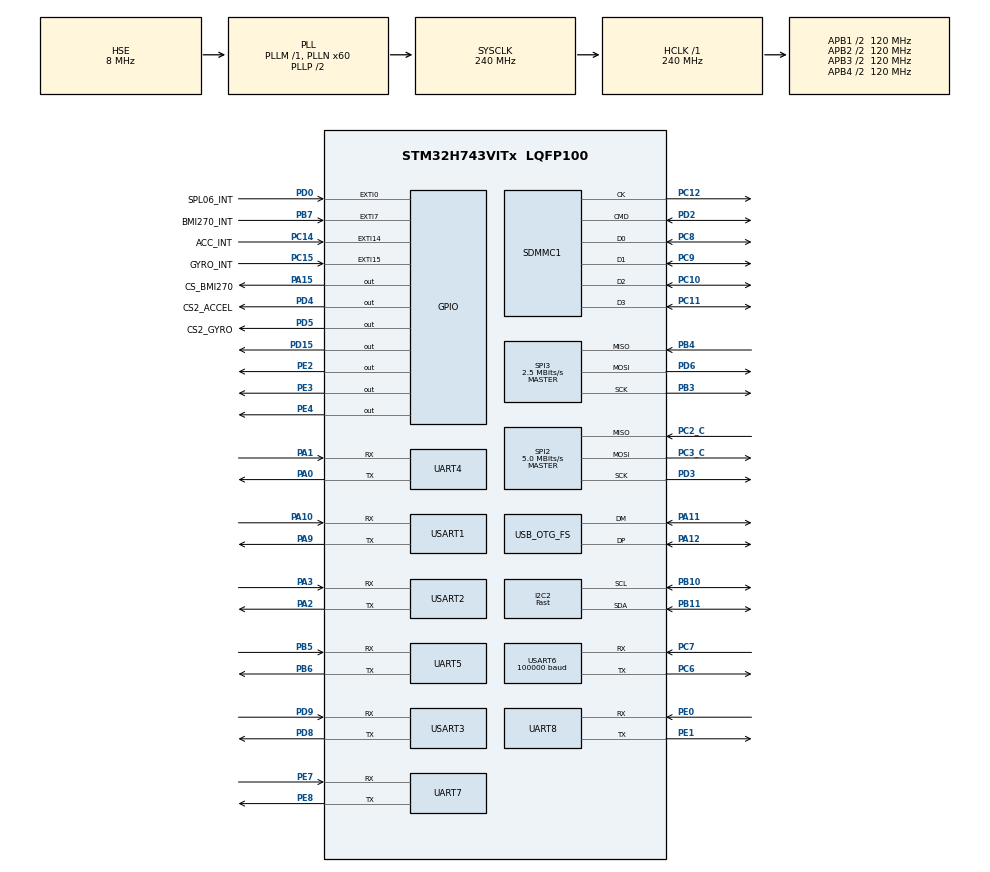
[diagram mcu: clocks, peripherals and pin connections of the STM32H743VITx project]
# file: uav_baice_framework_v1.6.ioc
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CORTEX_M7.CPU_DCache=Enabled
CORTEX_M7.CPU_ICache=Enabled
CORTEX_M7.default_mode_Activation=0
Dma.I2C2_RX.6.Direction=DMA_PERIPH_TO_MEMORY
Dma.I2C2_RX.6.EventEnable=DISABLE
Dma.I2C2_RX.6.FIFOMode=DMA_FIFOMODE_DISABLE
Dma.I2C2_RX.6.Instance=DMA1_Stream4
Dma.I2C2_RX.6.MemDataAlignment=DMA_MDATAALIGN_BYTE
Dma.I2C2_RX.6.MemInc=DMA_MINC_ENABLE
Dma.I2C2_RX.6.Mode=DMA_NORMAL
Dma.I2C2_RX.6.PeriphDataAlignment=DMA_PDATAALIGN_BYTE
Dma.I2C2_RX.6.PeriphInc=DMA_PINC_DISABLE
Dma.I2C2_RX.6.Polarity=HAL_DMAMUX_REQ_GEN_RISING
Dma.I2C2_RX.6.Priority=DMA_PRIORITY_HIGH
Dma.I2C2_RX.6.RequestNumber=1
Dma.I2C2_RX.6.SignalID=NONE
Dma.I2C2_RX.6.SyncEnable=DISABLE
Dma.I2C2_RX.6.SyncPolarity=HAL_DMAMUX_SYNC_NO_EVENT
Dma.I2C2_RX.6.SyncRequestNumber=1
Dma.I2C2_RX.6.SyncSignalID=NONE
Dma.I2C2_TX.7.Direction=DMA_MEMORY_TO_PERIPH
Dma.I2C2_TX.7.EventEnable=DISABLE
Dma.I2C2_TX.7.FIFOMode=DMA_FIFOMODE_DISABLE
Dma.I2C2_TX.7.Instance=DMA1_Stream5
Dma.I2C2_TX.7.MemDataAlignment=DMA_MDATAALIGN_BYTE
Dma.I2C2_TX.7.MemInc=DMA_MINC_ENABLE
Dma.I2C2_TX.7.Mode=DMA_NORMAL
Dma.I2C2_TX.7.PeriphDataAlignment=DMA_PDATAALIGN_BYTE
Dma.I2C2_TX.7.PeriphInc=DMA_PINC_DISABLE
Dma.I2C2_TX.7.Polarity=HAL_DMAMUX_REQ_GEN_RISING
Dma.I2C2_TX.7.Priority=DMA_PRIORITY_LOW
Dma.I2C2_TX.7.RequestNumber=1
Dma.I2C2_TX.7.SignalID=NONE
Dma.I2C2_TX.7.SyncEnable=DISABLE
Dma.I2C2_TX.7.SyncPolarity=HAL_DMAMUX_SYNC_NO_EVENT
Dma.I2C2_TX.7.SyncRequestNumber=1
Dma.I2C2_TX.7.SyncSignalID=NONE
Dma.Request0=UART8_RX
Dma.Request1=UART8_TX
Dma.Request10=USART1_RX
Dma.Request11=USART1_TX
Dma.Request2=SPI2_RX
Dma.Request3=SPI2_TX
Dma.Request4=SPI3_RX
Dma.Request5=SPI3_TX
Dma.Request6=I2C2_RX
Dma.Request7=I2C2_TX
Dma.Request8=USART6_RX
Dma.Request9=USART6_TX
Dma.SPI2_RX.2.Direction=DMA_PERIPH_TO_MEMORY
Dma.SPI2_RX.2.EventEnable=DISABLE
Dma.SPI2_RX.2.FIFOMode=DMA_FIFOMODE_DISABLE
Dma.SPI2_RX.2.Instance=DMA1_Stream0
Dma.SPI2_RX.2.MemDataAlignment=DMA_MDATAALIGN_BYTE
Dma.SPI2_RX.2.MemInc=DMA_MINC_ENABLE
Dma.SPI2_RX.2.Mode=DMA_NORMAL
Dma.SPI2_RX.2.PeriphDataAlignment=DMA_PDATAALIGN_BYTE
Dma.SPI2_RX.2.PeriphInc=DMA_PINC_DISABLE
Dma.SPI2_RX.2.Polarity=HAL_DMAMUX_REQ_GEN_RISING
Dma.SPI2_RX.2.Priority=DMA_PRIORITY_VERY_HIGH
Dma.SPI2_RX.2.RequestNumber=1
Dma.SPI2_RX.2.SignalID=NONE
Dma.SPI2_RX.2.SyncEnable=DISABLE
Dma.SPI2_RX.2.SyncPolarity=HAL_DMAMUX_SYNC_NO_EVENT
Dma.SPI2_RX.2.SyncRequestNumber=1
Dma.SPI2_RX.2.SyncSignalID=NONE
Dma.SPI2_TX.3.Direction=DMA_MEMORY_TO_PERIPH
Dma.SPI2_TX.3.EventEnable=DISABLE
Dma.SPI2_TX.3.FIFOMode=DMA_FIFOMODE_DISABLE
Dma.SPI2_TX.3.Instance=DMA1_Stream1
Dma.SPI2_TX.3.MemDataAlignment=DMA_MDATAALIGN_BYTE
Dma.SPI2_TX.3.MemInc=DMA_MINC_ENABLE
Dma.SPI2_TX.3.Mode=DMA_NORMAL
Dma.SPI2_TX.3.PeriphDataAlignment=DMA_PDATAALIGN_BYTE
Dma.SPI2_TX.3.PeriphInc=DMA_PINC_DISABLE
Dma.SPI2_TX.3.Polarity=HAL_DMAMUX_REQ_GEN_RISING
Dma.SPI2_TX.3.Priority=DMA_PRIORITY_VERY_HIGH
Dma.SPI2_TX.3.RequestNumber=1
Dma.SPI2_TX.3.SignalID=NONE
Dma.SPI2_TX.3.SyncEnable=DISABLE
Dma.SPI2_TX.3.SyncPolarity=HAL_DMAMUX_SYNC_NO_EVENT
Dma.SPI2_TX.3.SyncRequestNumber=1
Dma.SPI2_TX.3.SyncSignalID=NONE
Dma.SPI3_RX.4.Direction=DMA_PERIPH_TO_MEMORY
Dma.SPI3_RX.4.EventEnable=DISABLE
Dma.SPI3_RX.4.FIFOMode=DMA_FIFOMODE_DISABLE
Dma.SPI3_RX.4.Instance=DMA1_Stream2
Dma.SPI3_RX.4.MemDataAlignment=DMA_MDATAALIGN_BYTE
Dma.SPI3_RX.4.MemInc=DMA_MINC_ENABLE
Dma.SPI3_RX.4.Mode=DMA_NORMAL
Dma.SPI3_RX.4.PeriphDataAlignment=DMA_PDATAALIGN_BYTE
Dma.SPI3_RX.4.PeriphInc=DMA_PINC_DISABLE
Dma.SPI3_RX.4.Polarity=HAL_DMAMUX_REQ_GEN_RISING
Dma.SPI3_RX.4.Priority=DMA_PRIORITY_VERY_HIGH
Dma.SPI3_RX.4.RequestNumber=1
Dma.SPI3_RX.4.SignalID=NONE
Dma.SPI3_RX.4.SyncEnable=DISABLE
Dma.SPI3_RX.4.SyncPolarity=HAL_DMAMUX_SYNC_NO_EVENT
Dma.SPI3_RX.4.SyncRequestNumber=1
Dma.SPI3_RX.4.SyncSignalID=NONE
Dma.SPI3_TX.5.Direction=DMA_MEMORY_TO_PERIPH
Dma.SPI3_TX.5.EventEnable=DISABLE
Dma.SPI3_TX.5.FIFOMode=DMA_FIFOMODE_DISABLE
Dma.SPI3_TX.5.Instance=DMA1_Stream3
Dma.SPI3_TX.5.MemDataAlignment=DMA_MDATAALIGN_BYTE
Dma.SPI3_TX.5.MemInc=DMA_MINC_ENABLE
Dma.SPI3_TX.5.Mode=DMA_NORMAL
Dma.SPI3_TX.5.PeriphDataAlignment=DMA_PDATAALIGN_BYTE
Dma.SPI3_TX.5.PeriphInc=DMA_PINC_DISABLE
Dma.SPI3_TX.5.Polarity=HAL_DMAMUX_REQ_GEN_RISING
Dma.SPI3_TX.5.Priority=DMA_PRIORITY_VERY_HIGH
Dma.SPI3_TX.5.RequestNumber=1
Dma.SPI3_TX.5.SignalID=NONE
Dma.SPI3_TX.5.SyncEnable=DISABLE
Dma.SPI3_TX.5.SyncPolarity=HAL_DMAMUX_SYNC_NO_EVENT
Dma.SPI3_TX.5.SyncRequestNumber=1
Dma.SPI3_TX.5.SyncSignalID=NONE
Dma.UART8_RX.0.Direction=DMA_PERIPH_TO_MEMORY
Dma.UART8_RX.0.EventEnable=DISABLE
Dma.UART8_RX.0.FIFOMode=DMA_FIFOMODE_DISABLE
Dma.UART8_RX.0.Instance=DMA2_Stream0
Dma.UART8_RX.0.MemDataAlignment=DMA_MDATAALIGN_BYTE
Dma.UART8_RX.0.MemInc=DMA_MINC_ENABLE
Dma.UART8_RX.0.Mode=DMA_NORMAL
Dma.UART8_RX.0.PeriphDataAlignment=DMA_PDATAALIGN_BYTE
Dma.UART8_RX.0.PeriphInc=DMA_PINC_DISABLE
Dma.UART8_RX.0.Polarity=HAL_DMAMUX_REQ_GEN_RISING
Dma.UART8_RX.0.Priority=DMA_PRIORITY_LOW
Dma.UART8_RX.0.RequestNumber=1
Dma.UART8_RX.0.SignalID=NONE
Dma.UART8_RX.0.SyncEnable=DISABLE
Dma.UART8_RX.0.SyncPolarity=HAL_DMAMUX_SYNC_NO_EVENT
Dma.UART8_RX.0.SyncRequestNumber=1
Dma.UART8_RX.0.SyncSignalID=NONE
Dma.UART8_TX.1.Direction=DMA_MEMORY_TO_PERIPH
Dma.UART8_TX.1.EventEnable=DISABLE
Dma.UART8_TX.1.FIFOMode=DMA_FIFOMODE_DISABLE
Dma.UART8_TX.1.Instance=DMA2_Stream1
Dma.UART8_TX.1.MemDataAlignment=DMA_MDATAALIGN_BYTE
Dma.UART8_TX.1.MemInc=DMA_MINC_ENABLE
Dma.UART8_TX.1.Mode=DMA_NORMAL
Dma.UART8_TX.1.PeriphDataAlignment=DMA_PDATAALIGN_BYTE
Dma.UART8_TX.1.PeriphInc=DMA_PINC_DISABLE
Dma.UART8_TX.1.Polarity=HAL_DMAMUX_REQ_GEN_RISING
Dma.UART8_TX.1.Priority=DMA_PRIORITY_LOW
Dma.UART8_TX.1.RequestNumber=1
Dma.UART8_TX.1.SignalID=NONE
Dma.UART8_TX.1.SyncEnable=DISABLE
Dma.UART8_TX.1.SyncPolarity=HAL_DMAMUX_SYNC_NO_EVENT
Dma.UART8_TX.1.SyncRequestNumber=1
Dma.UART8_TX.1.SyncSignalID=NONE
Dma.USART1_RX.10.Direction=DMA_PERIPH_TO_MEMORY
Dma.USART1_RX.10.EventEnable=DISABLE
Dma.USART1_RX.10.FIFOMode=DMA_FIFOMODE_DISABLE
Dma.USART1_RX.10.Instance=DMA1_Stream6
Dma.USART1_RX.10.MemDataAlignment=DMA_MDATAALIGN_BYTE
Dma.USART1_RX.10.MemInc=DMA_MINC_ENABLE
Dma.USART1_RX.10.Mode=DMA_CIRCULAR
Dma.USART1_RX.10.PeriphDataAlignment=DMA_PDATAALIGN_BYTE
Dma.USART1_RX.10.PeriphInc=DMA_PINC_DISABLE
Dma.USART1_RX.10.Polarity=HAL_DMAMUX_REQ_GEN_RISING
Dma.USART1_RX.10.Priority=DMA_PRIORITY_LOW
Dma.USART1_RX.10.RequestNumber=1
Dma.USART1_RX.10.SignalID=NONE
Dma.USART1_RX.10.SyncEnable=DISABLE
Dma.USART1_RX.10.SyncPolarity=HAL_DMAMUX_SYNC_NO_EVENT
Dma.USART1_RX.10.SyncRequestNumber=1
Dma.USART1_RX.10.SyncSignalID=NONE
Dma.USART1_TX.11.Direction=DMA_MEMORY_TO_PERIPH
Dma.USART1_TX.11.EventEnable=DISABLE
Dma.USART1_TX.11.FIFOMode=DMA_FIFOMODE_DISABLE
Dma.USART1_TX.11.Instance=DMA1_Stream7
Dma.USART1_TX.11.MemDataAlignment=DMA_MDATAALIGN_BYTE
Dma.USART1_TX.11.MemInc=DMA_MINC_ENABLE
Dma.USART1_TX.11.Mode=DMA_NORMAL
Dma.USART1_TX.11.PeriphDataAlignment=DMA_PDATAALIGN_BYTE
Dma.USART1_TX.11.PeriphInc=DMA_PINC_DISABLE
Dma.USART1_TX.11.Polarity=HAL_DMAMUX_REQ_GEN_RISING
Dma.USART1_TX.11.Priority=DMA_PRIORITY_LOW
Dma.USART1_TX.11.RequestNumber=1
Dma.USART1_TX.11.SignalID=NONE
Dma.USART1_TX.11.SyncEnable=DISABLE
Dma.USART1_TX.11.SyncPolarity=HAL_DMAMUX_SYNC_NO_EVENT
Dma.USART1_TX.11.SyncRequestNumber=1
Dma.USART1_TX.11.SyncSignalID=NONE
Dma.USART6_RX.8.Direction=DMA_PERIPH_TO_MEMORY
Dma.USART6_RX.8.EventEnable=DISABLE
Dma.USART6_RX.8.FIFOMode=DMA_FIFOMODE_DISABLE
Dma.USART6_RX.8.Instance=DMA2_Stream2
Dma.USART6_RX.8.MemDataAlignment=DMA_MDATAALIGN_BYTE
Dma.USART6_RX.8.MemInc=DMA_MINC_ENABLE
Dma.USART6_RX.8.Mode=DMA_CIRCULAR
Dma.USART6_RX.8.PeriphDataAlignment=DMA_PDATAALIGN_BYTE
Dma.USART6_RX.8.PeriphInc=DMA_PINC_DISABLE
Dma.USART6_RX.8.Polarity=HAL_DMAMUX_REQ_GEN_RISING
Dma.USART6_RX.8.Priority=DMA_PRIORITY_MEDIUM
Dma.USART6_RX.8.RequestNumber=1
Dma.USART6_RX.8.SignalID=NONE
Dma.USART6_RX.8.SyncEnable=DISABLE
Dma.USART6_RX.8.SyncPolarity=HAL_DMAMUX_SYNC_NO_EVENT
Dma.USART6_RX.8.SyncRequestNumber=1
Dma.USART6_RX.8.SyncSignalID=NONE
Dma.USART6_TX.9.Direction=DMA_MEMORY_TO_PERIPH
Dma.USART6_TX.9.EventEnable=DISABLE
Dma.USART6_TX.9.FIFOMode=DMA_FIFOMODE_DISABLE
Dma.USART6_TX.9.Instance=DMA2_Stream3
Dma.USART6_TX.9.MemDataAlignment=DMA_MDATAALIGN_BYTE
Dma.USART6_TX.9.MemInc=DMA_MINC_ENABLE
Dma.USART6_TX.9.Mode=DMA_NORMAL
Dma.USART6_TX.9.PeriphDataAlignment=DMA_PDATAALIGN_BYTE
Dma.USART6_TX.9.PeriphInc=DMA_PINC_DISABLE
Dma.USART6_TX.9.Polarity=HAL_DMAMUX_REQ_GEN_RISING
Dma.USART6_TX.9.Priority=DMA_PRIORITY_MEDIUM
Dma.USART6_TX.9.RequestNumber=1
Dma.USART6_TX.9.SignalID=NONE
Dma.USART6_TX.9.SyncEnable=DISABLE
Dma.USART6_TX.9.SyncPolarity=HAL_DMAMUX_SYNC_NO_EVENT
Dma.USART6_TX.9.SyncRequestNumber=1
Dma.USART6_TX.9.SyncSignalID=NONE
FATFS._USE_LFN=3
FREERTOS.Tasks01=defaultTask,24,128,StartDefaultTask,Default,NULL,Dynamic,NULL,NULL
I2C2.I2C_Speed_Mode=I2C_Fast
I2C2.Timing=0x00B03FDB
Mcu.Family=STM32H7
Mcu.Name=STM32H743VITx
Mcu.Package=LQFP100
NVIC.DMA1_Stream0_IRQn=true\:5\:0\:false\:false\:true\:true\:false\:true\:true
NVIC.DMA1_Stream1_IRQn=true\:5\:0\:false\:false\:true\:true\:false\:true\:true
NVIC.DMA1_Stream2_IRQn=true\:5\:0\:false\:false\:true\:true\:false\:true\:true
NVIC.DMA1_Stream3_IRQn=true\:5\:0\:false\:false\:true\:true\:false\:true\:true
NVIC.DMA1_Stream4_IRQn=true\:5\:0\:false\:false\:true\:true\:false\:true\:true
NVIC.DMA1_Stream5_IRQn=true\:5\:0\:false\:false\:true\:true\:false\:true\:true
NVIC.DMA1_Stream6_IRQn=true\:5\:0\:false\:false\:true\:true\:false\:true\:true
NVIC.DMA1_Stream7_IRQn=true\:5\:0\:false\:false\:true\:true\:false\:true\:true
NVIC.DMA2_Stream0_IRQn=true\:5\:0\:false\:false\:true\:false\:false\:true\:true
NVIC.DMA2_Stream1_IRQn=true\:5\:0\:false\:false\:true\:false\:false\:true\:true
NVIC.DMA2_Stream2_IRQn=true\:5\:0\:false\:false\:true\:true\:false\:true\:true
NVIC.DMA2_Stream3_IRQn=true\:5\:0\:false\:false\:true\:false\:false\:true\:true
NVIC.EXTI0_IRQn=true\:5\:0\:false\:false\:true\:true\:true\:true\:true
NVIC.EXTI15_10_IRQn=true\:5\:0\:false\:false\:true\:true\:true\:true\:true
NVIC.EXTI9_5_IRQn=true\:5\:0\:false\:false\:true\:true\:true\:true\:true
NVIC.I2C2_ER_IRQn=true\:5\:0\:false\:false\:true\:true\:true\:true\:true
NVIC.I2C2_EV_IRQn=true\:5\:0\:false\:false\:true\:true\:true\:true\:true
NVIC.OTG_FS_IRQn=true\:5\:0\:false\:false\:true\:true\:false\:true\:true
NVIC.PriorityGroup=NVIC_PRIORITYGROUP_4
NVIC.SDMMC1_IRQn=true\:5\:0\:false\:false\:true\:true\:true\:true\:true
NVIC.SPI2_IRQn=true\:5\:0\:false\:false\:true\:true\:false\:true\:true
NVIC.SPI3_IRQn=true\:5\:0\:false\:false\:true\:true\:true\:true\:true
NVIC.TIM17_IRQn=true\:0\:0\:true\:false\:true\:false\:false\:true\:true
NVIC.TimeBase=TIM17_IRQn
NVIC.TimeBaseIP=TIM17
NVIC.UART8_IRQn=true\:5\:0\:false\:false\:true\:true\:true\:true\:true
NVIC.USART1_IRQn=true\:5\:0\:false\:false\:true\:true\:true\:true\:true
NVIC.USART6_IRQn=true\:5\:0\:false\:false\:true\:true\:true\:true\:true
PA0.Mode=Asynchronous
PA0.PinAttribute=Free
PA0.Signal=UART4_TX
PA1.Mode=Asynchronous
PA1.PinAttribute=Free
PA1.Signal=UART4_RX
PA10.Mode=Asynchronous
PA10.Signal=USART1_RX
PA11.Mode=Device_Only
PA11.Signal=USB_OTG_FS_DM
PA12.Mode=Device_Only
PA12.Signal=USB_OTG_FS_DP
PA13\ (JTMS/SWDIO).Mode=Serial_Wire
PA13\ (JTMS/SWDIO).Signal=DEBUG_JTMS-SWDIO
PA14\ (JTCK/SWCLK).Mode=Serial_Wire
PA14\ (JTCK/SWCLK).Signal=DEBUG_JTCK-SWCLK
PA15\ (JTDI).GPIO_Label=CS_BMI270
PA15\ (JTDI).GPIO_Speed=GPIO_SPEED_FREQ_VERY_HIGH
PA15\ (JTDI).PinState=GPIO_PIN_SET
PA15\ (JTDI).Signal=GPIO_Output
PA2.Mode=Asynchronous
PA2.PinAttribute=Free
PA2.Signal=USART2_TX
PA3.Mode=Asynchronous
PA3.Signal=USART2_RX
PA9.Mode=Asynchronous
PA9.Signal=USART1_TX
PB0.Signal=S_TIM3_CH3
PB1.Signal=S_TIM3_CH4
PB10.GPIO_Pu=GPIO_PULLUP
PB10.GPIO_Speed=GPIO_SPEED_FREQ_HIGH
PB10.Mode=I2C
PB10.Signal=I2C2_SCL
PB11.GPIO_Pu=GPIO_PULLUP
PB11.GPIO_Speed=GPIO_SPEED_FREQ_HIGH
PB11.Mode=I2C
PB11.Signal=I2C2_SDA
PB3\ (JTDO/TRACESWO).Mode=Full_Duplex_Master
PB3\ (JTDO/TRACESWO).Signal=SPI3_SCK
PB4\ (NJTRST).Mode=Full_Duplex_Master
PB4\ (NJTRST).Signal=SPI3_MISO
PB5.Mode=Asynchronous
PB5.Signal=UART5_RX
PB6.Mode=Asynchronous
PB6.Signal=UART5_TX
PB7.GPIO_Label=BMI270_INT
PB7.GPIO_ModeDefaultEXTI=GPIO_MODE_IT_RISING
PB7.Signal=GPXTI7
PB8.Signal=I2C1_SCL
PB9.Signal=I2C1_SDA
PC10.GPIO_PuPd=GPIO_PULLUP
PC10.Mode=SD_4_bits_Wide_bus
PC10.Signal=SDMMC1_D2
PC11.GPIO_PuPd=GPIO_PULLUP
PC11.Mode=SD_4_bits_Wide_bus
PC11.Signal=SDMMC1_D3
PC12.Mode=SD_4_bits_Wide_bus
PC12.Signal=SDMMC1_CK
PC14-OSC32_IN\ (OSC32_IN).GPIO_Label=ACC_INT
PC14-OSC32_IN\ (OSC32_IN).PinAttribute=Free
PC14-OSC32_IN\ (OSC32_IN).Signal=GPXTI14
PC15-OSC32_OUT\ (OSC32_OUT).GPIO_Label=GYRO_INT
PC15-OSC32_OUT\ (OSC32_OUT).GPIO_ModeDefaultEXTI=GPIO_MODE_IT_RISING
PC15-OSC32_OUT\ (OSC32_OUT).GPIO_PuPd=GPIO_PULLDOWN
PC15-OSC32_OUT\ (OSC32_OUT).PinAttribute=Free
PC15-OSC32_OUT\ (OSC32_OUT).Signal=GPXTI15
PC2_C.Mode=Full_Duplex_Master
PC2_C.PinAttribute=Free
PC2_C.Signal=SPI2_MISO
PC3_C.Mode=Full_Duplex_Master
PC3_C.PinAttribute=Free
PC3_C.Signal=SPI2_MOSI
PC6.GPIO_Speed=GPIO_SPEED_FREQ_HIGH
PC6.Mode=Asynchronous
PC6.Signal=USART6_TX
PC7.GPIO_PuPd=GPIO_NOPULL
PC7.GPIO_Speed=GPIO_SPEED_FREQ_HIGH
PC7.Mode=Asynchronous
PC7.Signal=USART6_RX
PC8.GPIO_PuPd=GPIO_PULLUP
PC8.Mode=SD_4_bits_Wide_bus
PC8.Signal=SDMMC1_D0
PC9.GPIO_PuPd=GPIO_PULLUP
PC9.Mode=SD_4_bits_Wide_bus
PC9.Signal=SDMMC1_D1
PD0.GPIO_Label=SPL06_INT
PD0.GPIO_ModeDefaultEXTI=GPIO_MODE_IT_RISING
PD0.GPIO_PuPd=GPIO_PULLDOWN
PD0.Signal=GPXTI0
PD12.Signal=S_TIM4_CH1
PD13.Signal=S_TIM4_CH2
PD14.Signal=S_TIM4_CH3
PD15.Signal=GPIO_Output
PD2.GPIO_PuPd=GPIO_PULLUP
PD2.Mode=SD_4_bits_Wide_bus
PD2.Signal=SDMMC1_CMD
PD3.GPIO_Speed=GPIO_SPEED_FREQ_VERY_HIGH
PD3.Mode=Full_Duplex_Master
PD3.Signal=SPI2_SCK
PD4.GPIO_Label=CS2_ACCEL
PD4.GPIO_Speed=GPIO_SPEED_FREQ_VERY_HIGH
PD4.PinState=GPIO_PIN_SET
PD4.Signal=GPIO_Output
PD5.GPIO_Label=CS2_GYRO
PD5.GPIO_Speed=GPIO_SPEED_FREQ_VERY_HIGH
PD5.PinState=GPIO_PIN_SET
PD5.Signal=GPIO_Output
PD6.GPIO_Speed=GPIO_SPEED_FREQ_VERY_HIGH
PD6.Mode=Full_Duplex_Master
PD6.Signal=SPI3_MOSI
PD8.Mode=Asynchronous
PD8.Signal=USART3_TX
PD9.Mode=Asynchronous
PD9.Signal=USART3_RX
PE0.Mode=Asynchronous
PE0.Signal=UART8_RX
PE1.Mode=Asynchronous
PE1.Signal=UART8_TX
PE11.Signal=S_TIM1_CH2
PE13.Signal=S_TIM1_CH3
PE14.Signal=S_TIM1_CH4
PE2.PinAttribute=Free
PE2.Signal=GPIO_Output
PE3.PinAttribute=Free
PE3.Signal=GPIO_Output
PE4.PinAttribute=Free
PE4.Signal=GPIO_Output
PE5.PinAttribute=Free
PE5.Signal=S_TIM15_CH1
PE6.PinAttribute=Free
PE6.Signal=S_TIM15_CH2
PE7.Mode=Asynchronous
PE7.Signal=UART7_RX
PE8.Mode=Asynchronous
PE8.Signal=UART7_TX
PE9.Signal=S_TIM1_CH1
PH0-OSC_IN\ (PH0).Mode=HSE-External-Oscillator
PH0-OSC_IN\ (PH0).PinAttribute=Free
PH0-OSC_IN\ (PH0).Signal=RCC_OSC_IN
PH1-OSC_OUT\ (PH1).Mode=HSE-External-Oscillator
PH1-OSC_OUT\ (PH1).PinAttribute=Free
PH1-OSC_OUT\ (PH1).Signal=RCC_OSC_OUT
ProjectManager.HeapSize=0x2000
ProjectManager.StackSize=0x4000
ProjectManager.TargetToolchain=STM32CubeIDE
RCC.ADCFreq_Value=200000000
RCC.APB1Freq_Value=120000000
RCC.APB2Freq_Value=120000000
RCC.APB3Freq_Value=120000000
RCC.APB4Freq_Value=120000000
RCC.CortexFreq_Value=240000000
RCC.D1PPRE=RCC_APB3_DIV2
RCC.D2PPRE1=RCC_APB1_DIV2
RCC.D2PPRE2=RCC_APB2_DIV2
RCC.D3PPRE=RCC_APB4_DIV2
RCC.DIVM1=1
RCC.DIVM2=2
RCC.DIVN1=60
RCC.DIVN2=100
RCC.DIVQ1=3
RCC.DIVR1=4
RCC.HCLKFreq_Value=240000000
RCC.HSE_VALUE=8000000
RCC.PLL2FRACN=0
RCC.PLL2_VCI_Range-AdvancedSettings=RCC_PLL2VCIRANGE_0
RCC.PLL3FRACN=0
RCC.PLLFRACN=0
RCC.PLLSourceVirtual=RCC_PLLSOURCE_HSE
RCC.PWR_Regulator_Voltage_Scale=PWR_REGULATOR_VOLTAGE_SCALE0
RCC.SDMMC1CLockSelection=RCC_SDMMCCLKSOURCE_PLL2
RCC.SYSCLKFreq_VALUE=240000000
RCC.SYSCLKSource=RCC_SYSCLKSOURCE_PLLCLK
RCC.USBCLockSelection=RCC_USBCLKSOURCE_HSI48
RCC.USBFreq_Value=48000000
SDMMC1.ClockDiv=40
SDMMC1.HardwareFlowControl=SDMMC_HARDWARE_FLOW_CONTROL_ENABLE
SH.S_TIM15_CH1.0=TIM15_CH1
SH.S_TIM15_CH2.0=TIM15_CH2
SH.S_TIM1_CH1.0=TIM1_CH1
SH.S_TIM1_CH2.0=TIM1_CH2
SH.S_TIM1_CH3.0=TIM1_CH3
SH.S_TIM1_CH4.0=TIM1_CH4
SH.S_TIM3_CH3.0=TIM3_CH3
SH.S_TIM3_CH4.0=TIM3_CH4
SH.S_TIM4_CH1.0=TIM4_CH1
SH.S_TIM4_CH2.0=TIM4_CH2
SH.S_TIM4_CH3.0=TIM4_CH3
SPI2.BaudRatePrescaler=SPI_BAUDRATEPRESCALER_32
SPI2.CLKPhase=SPI_PHASE_1EDGE
SPI2.CLKPolarity=SPI_POLARITY_LOW
SPI2.CalculateBaudRate=5.0 MBits/s
SPI2.DataSize=SPI_DATASIZE_8BIT
SPI2.Direction=SPI_DIRECTION_2LINES
SPI2.Mode=SPI_MODE_MASTER
SPI2.VirtualType=VM_MASTER
SPI3.BaudRatePrescaler=SPI_BAUDRATEPRESCALER_64
SPI3.CalculateBaudRate=2.5 MBits/s
SPI3.DataSize=SPI_DATASIZE_8BIT
SPI3.Direction=SPI_DIRECTION_2LINES
SPI3.Mode=SPI_MODE_MASTER
SPI3.NSSPMode=SPI_NSS_PULSE_DISABLE
SPI3.VirtualType=VM_MASTER
STMicroelectronics.X-CUBE-ALGOBUILD.1.3.0.LibraryCcDSPOoLibraryJjDSPOoLibrary=true
USART1.VirtualMode-Asynchronous=VM_ASYNC
USART2.VirtualMode-Asynchronous=VM_ASYNC
USART3.VirtualMode-Asynchronous=VM_ASYNC
USART6.BaudRate=100000
USART6.OverSampling=UART_OVERSAMPLING_16
USART6.Parity=PARITY_EVEN
USART6.RxPinLevelInvertParam=ADVFEATURE_RXINV_ENABLE
USART6.StopBits=STOPBITS_2
USART6.VirtualMode=VM_ASYNC
USART6.WordLength=WORDLENGTH_9B
USB_DEVICE.CLASS_NAME_FS=CDC
USB_DEVICE.USBD_LPM_ENABLED-CDC_FS=0
USB_DEVICE.VirtualMode-CDC_FS=Cdc
USB_DEVICE.VirtualModeFS=Cdc_FS
USB_OTG_FS.VirtualMode=Device_Only
VP_FATFS_VS_SDIO.Mode=SDIO
VP_FREERTOS_VS_CMSIS_V2.Mode=CMSIS_V2
VP_STMicroelectronics.X-CUBE-ALGOBUILD_VS_DSPOoLibraryJjLibrary_1.3.0_1.3.0.Mode=DSPOoLibraryJjLibrary
VP_SYS_VS_tim17.Mode=TIM17
VP_USB_DEVICE_VS_USB_DEVICE_CDC_FS.Mode=CDC_FS
board=custom

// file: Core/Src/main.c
/* USER CODE BEGIN Header */
/**
  ******************************************************************************
  * @file           : main.c
  * @brief          : Main program body
  ******************************************************************************
  * @attention
  *
  * Copyright (c) 2026 STMicroelectronics.
  * All rights reserved.
  *
  * This software is licensed under terms that can be found in the LICENSE file
  * in the root directory of this software component.
  * If no LICENSE file comes with this software, it is provided AS-IS.
  *
  ******************************************************************************
  */
/* USER CODE END Header */
#include "main.h"
#include "cmsis_os.h"
#include "dma.h"
#include "fatfs.h"
#include "i2c.h"
#include "sdmmc.h"
#include "spi.h"
#include "usart.h"
#include "usb_device.h"
#include "gpio.h"

/* USER CODE BEGIN Includes */
#include "bsp_init.h"
#include "bsp_usart.h"
#include "bsp_usb.h"
#include "SensorHub.h"
#include "usart_test.h"
#include "fatfs.h"
#include "SEGGER_SYSVIEW.h"
#include "string.h"
// 确保包含了您�?? log 头文件，比如 #include "bsp_log.h"
/* USER CODE END Includes */

extern uint32_t _srtt; // 新增：引入 .rtt_memory 的起始地址
extern uint32_t _ertt; // 新增：引入 .rtt_memory 的结束地址

void SystemClock_Config(void);
void MX_FREERTOS_Init(void);

/* USER CODE BEGIN 0 */
void MPU_Config_DMA_Memory(void)
{
  MPU_Region_InitTypeDef MPU_InitStruct = {0};

  HAL_MPU_Disable();

  // 配置 RAM_D2 (0x30000000) �????? Non-Cacheable
  MPU_InitStruct.Enable = MPU_REGION_ENABLE;
  MPU_InitStruct.BaseAddress = 0x30000000;
  MPU_InitStruct.Size = MPU_REGION_SIZE_256KB; // 覆盖整个 RAM_D2
  MPU_InitStruct.AccessPermission = MPU_REGION_FULL_ACCESS;
  MPU_InitStruct.IsBufferable = MPU_ACCESS_NOT_BUFFERABLE;
  MPU_InitStruct.IsCacheable = MPU_ACCESS_NOT_CACHEABLE; // 核心：关�????? Cache
  MPU_InitStruct.IsShareable = MPU_ACCESS_SHAREABLE;
  MPU_InitStruct.Number = MPU_REGION_NUMBER0;
  MPU_InitStruct.TypeExtField = MPU_TEX_LEVEL1;
  MPU_InitStruct.SubRegionDisable = 0x00;
  MPU_InitStruct.DisableExec = MPU_INSTRUCTION_ACCESS_ENABLE;

  HAL_MPU_ConfigRegion(&MPU_InitStruct);
  HAL_MPU_Enable(MPU_PRIVILEGED_DEFAULT);
}

/* USER CODE END 0 */

int main(void)
{
  /* USER CODE BEGIN 1 */
  MPU_Config_DMA_Memory();
  /* USER CODE END 1 */
/* Enable the CPU Cache */

  /* Enable I-Cache---------------------------------------------------------*/
  SCB_EnableICache();

  /* Enable D-Cache---------------------------------------------------------*/
  SCB_EnableDCache();

  /* MCU Configuration--------------------------------------------------------*/

  /* Reset of all peripherals, Initializes the Flash interface and the Systick. */

  /* USER CODE BEGIN Init */
  uint32_t rtt_len = (uint32_t)&_ertt - (uint32_t)&_srtt;
  if (rtt_len > 0) {
    memset(&_srtt, 0, rtt_len);
  }
  // >>>>> 新增：终极杀招！强制精准清零 RTT 控制块，绝不让它跳过初始化！ <<<<<
  extern SEGGER_RTT_CB _SEGGER_RTT;
  memset(&_SEGGER_RTT, 0, sizeof(_SEGGER_RTT));
  SEGGER_RTT_Init();       // 2. 提前初始化 RTT 结构体，消除野指针！

  /* USER CODE END Init */
  HAL_Init();

  /* Configure the system clock */
  SystemClock_Config();

  /* USER CODE BEGIN SysInit */
  SystemCoreClockUpdate(); // <<<<< 新增这一行！
  /* USER CODE END SysInit */

  /* Initialize all configured peripherals */
  MX_GPIO_Init();
  MX_DMA_Init();
  MX_UART8_Init();
  MX_SPI2_Init();
  MX_SPI3_Init();
  MX_I2C2_Init();
  MX_SDMMC1_SD_Init();
  MX_FATFS_Init();
  MX_UART4_Init();
  MX_UART5_Init();
  MX_UART7_Init();
  MX_USART1_UART_Init();
  MX_USART2_UART_Init();
  MX_USART3_UART_Init();
  MX_USART6_UART_Init();
  /* USER CODE BEGIN 2 */

  BSPInit();
  SensorHub_Init();
  USB_Bsp_Init();
  // AppPcTest_Init();
  /* USER CODE END 2 */

  /* Init scheduler */
  osKernelInitialize();

  /* Call init function for freertos objects (in freertos.c) */
  MX_FREERTOS_Init();

  /* Start scheduler */
  osKernelStart();

  /* We should never get here as control is now taken by the scheduler */
  /* Infinite loop */
  while (1)
  {

  }
}

void SystemClock_Config(void)
{
  RCC_OscInitTypeDef RCC_OscInitStruct = {0};
  RCC_ClkInitTypeDef RCC_ClkInitStruct = {0};

  /** Supply configuration update enable
  */
  HAL_PWREx_ConfigSupply(PWR_LDO_SUPPLY);

  /** Configure the main internal regulator output voltage
  */
  __HAL_PWR_VOLTAGESCALING_CONFIG(PWR_REGULATOR_VOLTAGE_SCALE1);

  while(!__HAL_PWR_GET_FLAG(PWR_FLAG_VOSRDY)) {}

  __HAL_RCC_SYSCFG_CLK_ENABLE();
  __HAL_PWR_VOLTAGESCALING_CONFIG(PWR_REGULATOR_VOLTAGE_SCALE0);

  while(!__HAL_PWR_GET_FLAG(PWR_FLAG_VOSRDY)) {}

  /** Initializes the RCC Oscillators according to the specified parameters
  * in the RCC_OscInitTypeDef structure.
  */
  RCC_OscInitStruct.OscillatorType = RCC_OSCILLATORTYPE_HSI48|RCC_OSCILLATORTYPE_HSE;
  RCC_OscInitStruct.HSEState = RCC_HSE_ON;
  RCC_OscInitStruct.HSI48State = RCC_HSI48_ON;
  RCC_OscInitStruct.PLL.PLLState = RCC_PLL_ON;
  RCC_OscInitStruct.PLL.PLLSource = RCC_PLLSOURCE_HSE;
  RCC_OscInitStruct.PLL.PLLM = 1;
  RCC_OscInitStruct.PLL.PLLN = 60;
  RCC_OscInitStruct.PLL.PLLP = 2;
  RCC_OscInitStruct.PLL.PLLQ = 3;
  RCC_OscInitStruct.PLL.PLLR = 4;
  RCC_OscInitStruct.PLL.PLLRGE = RCC_PLL1VCIRANGE_3;
  RCC_OscInitStruct.PLL.PLLVCOSEL = RCC_PLL1VCOWIDE;
  RCC_OscInitStruct.PLL.PLLFRACN = 0;
  if (HAL_RCC_OscConfig(&RCC_OscInitStruct) != HAL_OK)
  {
    Error_Handler();
  }

  /** Initializes the CPU, AHB and APB buses clocks
  */
  RCC_ClkInitStruct.ClockType = RCC_CLOCKTYPE_HCLK|RCC_CLOCKTYPE_SYSCLK
                              |RCC_CLOCKTYPE_PCLK1|RCC_CLOCKTYPE_PCLK2
                              |RCC_CLOCKTYPE_D3PCLK1|RCC_CLOCKTYPE_D1PCLK1;
  RCC_ClkInitStruct.SYSCLKSource = RCC_SYSCLKSOURCE_PLLCLK;
  RCC_ClkInitStruct.SYSCLKDivider = RCC_SYSCLK_DIV1;
  RCC_ClkInitStruct.AHBCLKDivider = RCC_HCLK_DIV1;
  RCC_ClkInitStruct.APB3CLKDivider = RCC_APB3_DIV2;
  RCC_ClkInitStruct.APB1CLKDivider = RCC_APB1_DIV2;
  RCC_ClkInitStruct.APB2CLKDivider = RCC_APB2_DIV2;
  RCC_ClkInitStruct.APB4CLKDivider = RCC_APB4_DIV2;

  if (HAL_RCC_ClockConfig(&RCC_ClkInitStruct, FLASH_LATENCY_4) != HAL_OK)
  {
    Error_Handler();
  }
}

void HAL_TIM_PeriodElapsedCallback(TIM_HandleTypeDef *htim)
{
  if (htim->Instance == TIM17) {
    HAL_IncTick();
  }
}

void Error_Handler(void)
{
  __disable_irq();
  while (1)
  {
  }
}

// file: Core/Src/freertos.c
/* USER CODE BEGIN Header */
/**
  ******************************************************************************
  * File Name          : freertos.c
  * Description        : Code for freertos applications
  ******************************************************************************
  * @attention
  *
  * Copyright (c) 2026 STMicroelectronics.
  * All rights reserved.
  *
  * This software is licensed under terms that can be found in the LICENSE file
  * in the root directory of this software component.
  * If no LICENSE file comes with this software, it is provided AS-IS.
  *
  ******************************************************************************
  */
/* USER CODE END Header */

#include "FreeRTOS.h"
#include "task.h"
#include "main.h"
#include "cmsis_os.h"

/* USER CODE BEGIN Includes */
#include "BMI088driver.h"
#include "BMI270driver.h"
#include "bsp_dwt.h"
#include "bsp_log.h"
#include "bsp_usart.h"
#include "bsp_usb.h"
#include "fatfs.h"
#include "ff.h"
#include "i2c.h"
#include "ins_task.h"
#include "mavlink_user.h"
#include "Monitor.h"
#include "sdmmc.h"
#include "SD_Card.h"
#include "SEGGER_SYSVIEW.h"
#include "SensorHub.h"
#include "spi.h"
#include "SPL06.h"
#include "stm32h7xx_it.h"
#include "usb_device.h"
/* USER CODE END Includes */

/* USER CODE BEGIN PM */
/*
 * SD 卡读写及 Cache �??致�?�测试函�?? (基于自定�?? Log 系统)
 */
void SD_Cache_DMA_Test(void)
{
    FRESULT res;
    UINT bytesWritten, bytesRead;

    // 2. 准备测试字符�??
    const char *test_str = "Hello STM32H7! SDMMC DMA with Non-Cacheable RAM test passed!";
    uint32_t test_len = strlen(test_str);

    // 3. 使用您的 DMA_Malloc 分配读写 Buffer (确保�?? RAM_D2)
    uint8_t *write_buf = (uint8_t *)DMA_Malloc(512);
    uint8_t *read_buf  = (uint8_t *)DMA_Malloc(512);

    if (write_buf == NULL || read_buf == NULL) {
        LOGERROR("DMA_Malloc failed! Check DMA_MEM_POOL_SIZE.");
        return;
    }

    // 格式�?? Buffer 并填充要写入的数�??
    memset(write_buf, 0, 512);
    memset(read_buf, 0, 512);
    memcpy(write_buf, test_str, test_len);

    LOGINFO("--- SD Card Write/Read Test Start ---");

    // 4. 挂载 SD �??
    res = f_mount(&SDFatFS, "0:/", 1);
    if (res != FR_OK) {
        LOGERROR("f_mount error! Code: %d (Did you fix BSP_SD_IsDetected?)", res);
        return;
    }
    LOGINFO("f_mount successful.");

    // 5. 创建并写入测试文�??
    res = f_open(&SDFile, "0:/h7_test.txt", FA_CREATE_ALWAYS | FA_WRITE);
    if (res == FR_OK) {
        res = f_write(&SDFile, write_buf, test_len, &bytesWritten);
        f_close(&SDFile); // 必须 close 才能刷入物理 SD �??

        if (res == FR_OK && bytesWritten == test_len) {
            LOGINFO("Write successful. Wrote %d bytes.", bytesWritten);
        } else {
            LOGERROR("f_write error! Code: %d", res);
        }
    } else {
        LOGERROR("f_open (write) error! Code: %d", res);
    }

    // 6. 重新打开并读取测试文�??
    res = f_open(&SDFile, "0:/h7_test.txt", FA_READ);
    if (res == FR_OK) {
        res = f_read(&SDFile, read_buf, test_len, &bytesRead);
        f_close(&SDFile);

        if (res == FR_OK && bytesRead == test_len) {
            LOGINFO("Read successful. Read %d bytes.", bytesRead);

            // 7. 【终极校验�?�比对写入和读取的数�??
            if (memcmp(write_buf, read_buf, test_len) == 0) {
                LOGINFO("========================================");
                LOGINFO("[SUCCESS] DATA MATCHES PERFECTLY!");
                LOGINFO("Cache and DMA are working properly!");
                LOGINFO("Read Content: %s", read_buf);
                LOGINFO("========================================");
            } else {
                LOGERROR("!!!!!!!!!!!!!!!!!!!!!!!!!!!!!!!!!!!!!!!!");
                LOGERROR("[ERROR] DATA MISMATCH!");
                LOGERROR("D-Cache issue is NOT resolved!");
                LOGERROR("Expected: %s", write_buf);
                LOGERROR("Got:      %s", read_buf);
                LOGERROR("!!!!!!!!!!!!!!!!!!!!!!!!!!!!!!!!!!!!!!!!");
            }
        } else {
            LOGERROR("f_read error! Code: %d", res);
        }
    } else {
        LOGERROR("f_open (read) error! Code: %d", res);
    }

    // 8. 测试完毕，卸载文件系�??
    f_mount(NULL, "0:/", 1);
    LOGINFO("--- SD Card Test End ---");
}

void SD_BSP_Direct_Test(void)
{
    LOGINFO("=== BSP Layer Direct Test Start ===");

    // 1. 测试 BSP 初始�?
    LOGINFO("Testing BSP_SD_Init()...");
    if (BSP_SD_Init() != MSD_OK) {
        LOGERROR("[FAIL] BSP_SD_Init error! (Hardware/Mode Switch Failed)");
        return;
    }
    LOGINFO("[OK] BSP_SD_Init successful.");

    // 2. 测试 DMA/中断数据读取逻辑
    LOGINFO("Testing BSP_SD_ReadBlocks()...");

    // 使用您之前写好的 RAM_D2 �? Cache 内存
    uint8_t *sector_buf = (uint8_t *)DMA_Malloc(512);
    if (sector_buf == NULL) {
        LOGERROR("DMA_Malloc failed!");
        return;
    }
    memset(sector_buf, 0xAA, 512); // 填充垃圾数据用于观察

    // 尝试读取�? 0 扇区 (FATFS 挂载就是死在这一�?)
    // 参数: 缓冲区指�?, 起始扇区(0), 扇区数量(1), 超时时间(1000ms)
    uint8_t read_status = BSP_SD_ReadBlocks((uint32_t*)sector_buf, 0, 1, 1000);

    if (read_status != MSD_OK) {
        LOGERROR("[FAIL] BSP_SD_ReadBlocks error! Code: %d", read_status);
        LOGERROR("Reason: DMA transfer failed, or FreeRTOS semaphore timeout.");
    } else {
        LOGINFO("[OK] Sector 0 read successfully!");
        LOGINFO("Data[0-3]: %02X %02X %02X %02X", sector_buf[0], sector_buf[1], sector_buf[2], sector_buf[3]);
        LOGINFO("BSP layer is perfect. Issue is inside FATFS config.");
    }
}
/* USER CODE END PM */

/* USER CODE BEGIN Variables */
TaskHandle_t IMU_Task_Handle;
static TaskHandle_t Control_Task_Handle;
static TaskHandle_t Comm_Task_Handle;
TaskHandle_t SensorHub_Task_Handle;
TaskHandle_t UAV_DataLog_Task_Handle;
TaskHandle_t USB_Tx_Task_Handle; // 新增句柄
static TaskHandle_t Monitor_Task_Handle;
/* USER CODE END Variables */
/* Definitions for defaultTask */
osThreadId_t defaultTaskHandle;
const osThreadAttr_t defaultTask_attributes = {
  .name = "defaultTask",
  .stack_size = 128 * 4,
  .priority = (osPriority_t) osPriorityNormal,
};

/* USER CODE BEGIN FunctionPrototypes */
// static void IMU_Task(void *argument);
static void Control_Task(void *argument);
// static void Comm_Task(void *argument);
static void Monitor_Task(void *argument);
// static void SensorHub_Task(void *argument);

/* USER CODE END FunctionPrototypes */

void StartDefaultTask(void *argument);

extern void MX_USB_DEVICE_Init(void);
void MX_FREERTOS_Init(void); /* (MISRA C 2004 rule 8.1) */

void MX_FREERTOS_Init(void) {

  /* Create the thread(s) */
  /* creation of defaultTask */
  defaultTaskHandle = osThreadNew(StartDefaultTask, NULL, &defaultTask_attributes);

  /* USER CODE BEGIN RTOS_THREADS */
  /* add threads, ... */
  xTaskCreate(INS_Task,"IMU_Task",1024,NULL,osPriorityHigh2,&IMU_Task_Handle);
  xTaskCreate(Control_Task,"Control_Task",512,NULL,osPriorityHigh,&Control_Task_Handle);
  xTaskCreate(Comm_Task,"Comm_Task",512,NULL,osPriorityNormal,&Comm_Task_Handle);
  xTaskCreate(SensorHub_Task,"SensorHub_Task",1024,NULL,osPriorityHigh1,&SensorHub_Task_Handle);
    xTaskCreate(UAV_DataLog_Task,"UAV_DataLog_Task",512,NULL,osPriorityLow,&UAV_DataLog_Task_Handle);
    xTaskCreate(Monitor_Task,"Monitor_Task",256,NULL,osPriorityLow,&Monitor_Task_Handle);
    xTaskCreate(USB_Tx_Task, "USB_Tx_Task", 512, NULL, osPriorityBelowNormal, &USB_Tx_Task_Handle);
  /* USER CODE END RTOS_THREADS */

  /* USER CODE BEGIN RTOS_EVENTS */
    // SEGGER_SYSVIEW_Conf();  // 配置 SystemView
  /* add events, ... */
  /* USER CODE END RTOS_EVENTS */

}

void StartDefaultTask(void *argument)
{
  /* init code for USB_DEVICE */
    // SEGGER_SYSVIEW_Start(); // <<<<< 放在这里！在 RTOS 启动前强制开启记录！
    // ✅ 在任务中初始化 SystemView
    // osDelay(5);                    // 可选：等待系统稳定
    // SEGGER_SYSVIEW_Stop();         // 清除残留状态
    // SEGGER_SYSVIEW_Conf();         // 配置
    // SEGGER_SYSVIEW_Start();        // 启动
    osDelay(100);

    SEGGER_SYSVIEW_Stop();
    SEGGER_SYSVIEW_Conf();
    // 连接成功后启动
    SEGGER_SYSVIEW_Start();
  MX_USB_DEVICE_Init();
  for(;;)
  {
    osDelay(1);
  }
}

/* USER CODE BEGIN Application */
// float time_start, time_end;
// float time_blocking, time_dma;
// void IMU_Task(void *argument)
// {
//   /* USER CODE BEGIN IMU_Task */
//   INS_Init();
//   /* 1. �???????�??????? I2C 通信是否正常 (阻塞模式) */
//
//   // �???机静止时，获取起飞地面的基准气压
//   // 使用绝对延时，保证严格的 1kHz
//   TickType_t xLastWakeTime;
//   const TickType_t xFrequency = pdMS_TO_TICKS(1); // 1ms
//   xLastWakeTime = xTaskGetTickCount();
//   /* Infinite loop */
//   for(;;)
//   {
//
//     // 1. 确保任务以准确的 1kHz 周期唤醒
//     vTaskDelayUntil(&xLastWakeTime, xFrequency);
//     // [调试用] 记录�????????????始时�????????????
//     time_start = DWT_GetTimeline_us();
//
//     INS_Task();
//     time_end = DWT_GetTimeline_us();
//     time_dma = time_end - time_start;
//     // vTaskDelay(1);
//     // IMU data acquisition and processing code goes here
//   }
//   /* USER CODE END IMU_Task */
// }

void Control_Task(void *argument)
{
  /* USER CODE BEGIN Control_Task */
  /* Infinite loop */
  for(;;)
  {
    // Control algorithm code goes here

    osDelay(1); // Adjust delay as needed
  }
  /* USER CODE END Control_Task */
}

// static void Comm_Task(void *argument)
// {
//   /* USER CODE BEGIN Control_Task */
//   /* Infinite loop */
//   for(;;)
//   {
//     // Control algorithm code goes here
//
//     osDelay(20); // Adjust delay as needed
//   }
//   /* USER CODE END Control_Task */
// }

static void Monitor_Task(void *argument)
{
    /* USER CODE BEGIN Control_Task */
    /* Infinite loop */
    for(;;)
    {
        // Control algorithm code goes here
        MonitorTask();
        osDelay(20); // Adjust delay as needed
    }
    /* USER CODE END Control_Task */
}

/* USER CODE BEGIN 4 */
void vApplicationIdleHook( void )
{
    /* vApplicationIdleHook() will only be called if configUSE_IDLE_HOOK is set
    to 1 in FreeRTOSConfig.h. It will be called on each iteration of the idle
    task. It is essential that code added to this hook function never attempts
    to block in any way... */

    // ✨ 降温必杀技：让 CPU 挂起休眠，直到下一个中断（如 SysTick 或 USB/SPI 接收）到来才唤醒
    __WFI();
}
/* USER CODE END 4 */
/* USER CODE END Application */
